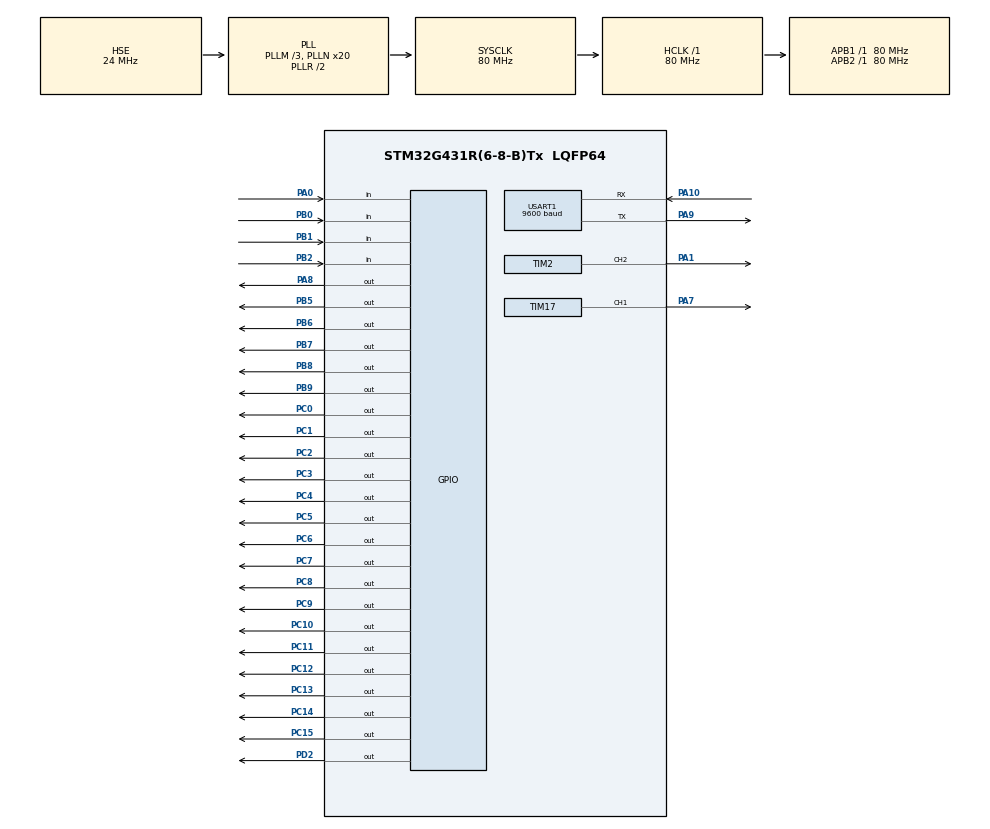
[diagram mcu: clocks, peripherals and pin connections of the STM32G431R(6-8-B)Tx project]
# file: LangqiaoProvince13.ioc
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Mcu.Family=STM32G4
Mcu.Name=STM32G431R(6-8-B)Tx
Mcu.Package=LQFP64
NVIC.PriorityGroup=NVIC_PRIORITYGROUP_4
NVIC.TIM1_UP_TIM16_IRQn=true\:0\:0\:false\:false\:true\:true\:true\:true
NVIC.TIM7_IRQn=true\:0\:0\:false\:false\:true\:true\:true\:true
NVIC.USART1_IRQn=true\:0\:0\:false\:false\:true\:true\:true\:true
PA0.GPIO_PuPd=GPIO_PULLUP
PA0.Signal=GPIO_Input
PA1.Signal=S_TIM2_CH2
PA10.Mode=Asynchronous
PA10.Signal=USART1_RX
PA13.Mode=Serial_Wire
PA13.Signal=SYS_JTMS-SWDIO
PA14.Mode=Serial_Wire
PA14.Signal=SYS_JTCK-SWCLK
PA7.Signal=S_TIM17_CH1
PA8.Signal=GPIO_Output
PA9.Mode=Asynchronous
PA9.Signal=USART1_TX
PB0.GPIO_PuPd=GPIO_PULLUP
PB0.Signal=GPIO_Input
PB1.GPIO_PuPd=GPIO_PULLUP
PB1.Signal=GPIO_Input
PB2.GPIO_PuPd=GPIO_PULLUP
PB2.Signal=GPIO_Input
PB5.Signal=GPIO_Output
PB6.Signal=GPIO_Output
PB7.Signal=GPIO_Output
PB8-BOOT0.Signal=GPIO_Output
PB9.Signal=GPIO_Output
PC0.Signal=GPIO_Output
PC1.Signal=GPIO_Output
PC10.GPIO_PuPd=GPIO_PULLUP
PC10.PinState=GPIO_PIN_SET
PC10.Signal=GPIO_Output
PC11.GPIO_PuPd=GPIO_PULLUP
PC11.PinState=GPIO_PIN_SET
PC11.Signal=GPIO_Output
PC12.GPIO_PuPd=GPIO_PULLUP
PC12.PinState=GPIO_PIN_SET
PC12.Signal=GPIO_Output
PC13.GPIO_PuPd=GPIO_PULLUP
PC13.PinState=GPIO_PIN_SET
PC13.Signal=GPIO_Output
PC14-OSC32_IN.GPIO_PuPd=GPIO_PULLUP
PC14-OSC32_IN.PinState=GPIO_PIN_SET
PC14-OSC32_IN.Signal=GPIO_Output
PC15-OSC32_OUT.GPIO_PuPd=GPIO_PULLUP
PC15-OSC32_OUT.PinState=GPIO_PIN_SET
PC15-OSC32_OUT.Signal=GPIO_Output
PC2.Signal=GPIO_Output
PC3.Signal=GPIO_Output
PC4.Signal=GPIO_Output
PC5.Signal=GPIO_Output
PC6.Signal=GPIO_Output
PC7.Signal=GPIO_Output
PC8.GPIO_PuPd=GPIO_PULLUP
PC8.PinState=GPIO_PIN_SET
PC8.Signal=GPIO_Output
PC9.GPIO_PuPd=GPIO_PULLUP
PC9.PinState=GPIO_PIN_SET
PC9.Signal=GPIO_Output
PD2.Signal=GPIO_Output
PF0-OSC_IN.Mode=HSE-External-Oscillator
PF0-OSC_IN.Signal=RCC_OSC_IN
PF1-OSC_OUT.Mode=HSE-External-Oscillator
PF1-OSC_OUT.Signal=RCC_OSC_OUT
ProjectManager.HeapSize=0x200
ProjectManager.StackSize=0x400
ProjectManager.TargetToolchain=MDK-ARM V5.27
RCC.ADC12Freq_Value=80000000
RCC.AHBFreq_Value=80000000
RCC.APB1Freq_Value=80000000
RCC.APB1TimFreq_Value=80000000
RCC.APB2Freq_Value=80000000
RCC.APB2TimFreq_Value=80000000
RCC.CortexFreq_Value=80000000
RCC.EXTERNAL_CLOCK_VALUE=12288000
RCC.HCLKFreq_Value=80000000
RCC.HSE_VALUE=24000000
RCC.HSI48_VALUE=48000000
RCC.HSI_VALUE=16000000
RCC.LSE_VALUE=32768
RCC.PLLM=RCC_PLLM_DIV3
RCC.PLLN=20
RCC.PLLSourceVirtual=RCC_PLLSOURCE_HSE
RCC.SYSCLKFreq_VALUE=80000000
RCC.SYSCLKSource=RCC_SYSCLKSOURCE_PLLCLK
RCC.USBFreq_Value=80000000
RCC.VCOOutputFreq_Value=160000000
SH.S_TIM17_CH1.0=TIM17_CH1,PWM Generation1 CH1
SH.S_TIM2_CH2.0=TIM2_CH2,PWM Generation2 CH2
TIM16.PeriodNoDither=1000-1
TIM16.Prescaler=800-1
TIM17.Channel=TIM_CHANNEL_1
TIM17.PeriodNoDither=100-1
TIM17.Prescaler=8000-1
TIM17.PulseNoDither_1=50
TIM2.Channel-PWM\ Generation2\ CH2=TIM_CHANNEL_2
TIM2.PeriodNoDither=100-1
TIM2.Prescaler=800-1
TIM2.PulseNoDither_2=50
TIM7.PeriodNoDither=1000-1
TIM7.Prescaler=8000-1
USART1.BaudRate=9600
USART1.VirtualMode-Asynchronous=VM_ASYNC
VP_SYS_VS_DBSignals.Mode=DisableDeadBatterySignals
VP_TIM16_VS_ClockSourceINT.Mode=Enable_Timer
VP_TIM17_VS_ClockSourceINT.Mode=Enable_Timer
VP_TIM7_VS_ClockSourceINT.Mode=Enable_Timer
board=custom

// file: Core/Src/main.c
/* USER CODE BEGIN Header */
/**
  ******************************************************************************
  * @file           : main.c
  * @brief          : Main program body
  ******************************************************************************
  * @attention
  *
  * Copyright (c) 2024 STMicroelectronics.
  * All rights reserved.
  *
  * This software is licensed under terms that can be found in the LICENSE file
  * in the root directory of this software component.
  * If no LICENSE file comes with this software, it is provided AS-IS.
  *
  ******************************************************************************
  */
/* USER CODE END Header */
#include "main.h"
#include "tim.h"
#include "usart.h"
#include "gpio.h"

/* USER CODE BEGIN Includes */
#include "lcd.h"
#include "stdio.h"
#include "led.h"
#include "interrupt.h"
#include "string.h"
/* USER CODE END Includes */

/* USER CODE BEGIN PD */
extern struct keys Key[];
extern uint16_t led_tick;
extern char rx_data[];
extern uchar rx_pointer;
extern uchar rx;

extern uchar view;
extern uchar B1,B2,B3;;
extern int freq;
extern int duty;

extern uchar led_on[];
/* USER CODE END PD */

/* USER CODE BEGIN PM */
void key_proc(void);
void lcd_proc(void);
void uart_rx_proc(void);
/* USER CODE END PM */

/* USER CODE BEGIN PV */

char password[4]="123";
uchar failtime=0;

char old_password[4];
char new_password[4];
/* USER CODE END PV */

void SystemClock_Config(void);

int main(void)
{

  /* MCU Configuration--------------------------------------------------------*/

  /* Reset of all peripherals, Initializes the Flash interface and the Systick. */
  HAL_Init();

  /* Configure the system clock */
  SystemClock_Config();

  /* Initialize all configured peripherals */
  MX_GPIO_Init();
  MX_TIM16_Init();
  MX_TIM17_Init();
  MX_USART1_UART_Init();
  MX_TIM2_Init();
  MX_TIM7_Init();
  /* USER CODE BEGIN 2 */
  LCD_Init();
	LCD_Clear(Black);
  LCD_SetBackColor(Black);
  LCD_SetTextColor(White);
	led_disp(0x00);

  /* USER CODE END 2 */

  /* Infinite loop */
  /* USER CODE BEGIN WHILE */

	HAL_TIM_Base_Start_IT(&htim16);
	HAL_UART_Receive_IT(&huart1,&rx,1);
	HAL_TIM_PWM_Start(&htim2,TIM_CHANNEL_2);
  while (1)
  {
    /* USER CODE END WHILE */

    /* USER CODE BEGIN 3 */
		key_proc();
		lcd_proc();
		if(rx_pointer!=0)
		{
			int temp=rx_pointer;
			HAL_Delay(1);
			if(temp==rx_pointer) uart_rx_proc();
		}
  }
  /* USER CODE END 3 */
}

void SystemClock_Config(void)
{
  RCC_OscInitTypeDef RCC_OscInitStruct = {0};
  RCC_ClkInitTypeDef RCC_ClkInitStruct = {0};

  /** Configure the main internal regulator output voltage
  */
  HAL_PWREx_ControlVoltageScaling(PWR_REGULATOR_VOLTAGE_SCALE1);

  /** Initializes the RCC Oscillators according to the specified parameters
  * in the RCC_OscInitTypeDef structure.
  */
  RCC_OscInitStruct.OscillatorType = RCC_OSCILLATORTYPE_HSE;
  RCC_OscInitStruct.HSEState = RCC_HSE_ON;
  RCC_OscInitStruct.PLL.PLLState = RCC_PLL_ON;
  RCC_OscInitStruct.PLL.PLLSource = RCC_PLLSOURCE_HSE;
  RCC_OscInitStruct.PLL.PLLM = RCC_PLLM_DIV3;
  RCC_OscInitStruct.PLL.PLLN = 20;
  RCC_OscInitStruct.PLL.PLLP = RCC_PLLP_DIV2;
  RCC_OscInitStruct.PLL.PLLQ = RCC_PLLQ_DIV2;
  RCC_OscInitStruct.PLL.PLLR = RCC_PLLR_DIV2;
  if (HAL_RCC_OscConfig(&RCC_OscInitStruct) != HAL_OK)
  {
    Error_Handler();
  }

  /** Initializes the CPU, AHB and APB buses clocks
  */
  RCC_ClkInitStruct.ClockType = RCC_CLOCKTYPE_HCLK|RCC_CLOCKTYPE_SYSCLK
                              |RCC_CLOCKTYPE_PCLK1|RCC_CLOCKTYPE_PCLK2;
  RCC_ClkInitStruct.SYSCLKSource = RCC_SYSCLKSOURCE_PLLCLK;
  RCC_ClkInitStruct.AHBCLKDivider = RCC_SYSCLK_DIV1;
  RCC_ClkInitStruct.APB1CLKDivider = RCC_HCLK_DIV1;
  RCC_ClkInitStruct.APB2CLKDivider = RCC_HCLK_DIV1;

  if (HAL_RCC_ClockConfig(&RCC_ClkInitStruct, FLASH_LATENCY_2) != HAL_OK)
  {
    Error_Handler();
  }
}

/* USER CODE BEGIN 4 */
void key_proc(void)
{
	if(view==0)
	{
		if(Key[0].single_flag==1)
		{
			if(B1=='@') B1='0';
			else B1+=1;
			if(B1=='9'+1) B1='0';
			Key[0].single_flag=0;
		}
		if(Key[1].single_flag==1)
		{
			if(B2=='@') B2='0';
			else B2+=1;
			if(B2=='9'+1) B2='0';
			Key[1].single_flag=0;
		}
		if(Key[2].single_flag==1)
		{
			if(B3=='@') B3='0';
			else B3+=1;
			if(B3=='9'+1) B3='0';
			Key[2].single_flag=0;
		}
		if(Key[3].single_flag==1)
		{
			if(B1==password[0] && B2==password[1] && B3==password[2])
			{
				view+=1;
				LCD_Clear(Black);
				led_on[0]=1;

				//设置PWM输出
				freq=2000;
				duty=10;
				__HAL_TIM_SET_PRESCALER(&htim2,(80000000)/100/freq);
				__HAL_TIM_SetCompare(&htim2,TIM_CHANNEL_2,duty);
				HAL_TIM_Base_Start_IT(&htim7); //开始5s计时
			}
			else
			{
				B1='@';B2='@';B3='@';
				failtime+=1;
				if(failtime>=3)
				{
					led_on[1]=1;
				}
			}
			Key[3].single_flag=0;
		}
	}
}

void lcd_proc(void)
{
	char text[30];
	if(view==0)
	{
		sprintf(text,"       PSD    ");
		LCD_DisplayStringLine(Line2, (unsigned char *)text);
		sprintf(text,"    B1=%c    ",B1);
		LCD_DisplayStringLine(Line4, (unsigned char *)text);
		sprintf(text,"    B2=%c    ",B2);
		LCD_DisplayStringLine(Line5, (unsigned char *)text);
		sprintf(text,"    B3=%c    ",B3);
		LCD_DisplayStringLine(Line6, (unsigned char *)text);
//		sprintf(text,"    oldpass=%s      ",old_password);
//		LCD_DisplayStringLine(Line7, (unsigned char *)text);
//		sprintf(text,"    newpass=%s     ",new_password);
//		LCD_DisplayStringLine(Line8, (unsigned char *)text);
		sprintf(text,"    pass=%s      ",password);
		LCD_DisplayStringLine(Line7, (unsigned char *)text);
	}
	else if(view==1)
	{
		sprintf(text,"       STA    ");
		LCD_DisplayStringLine(Line2, (unsigned char *)text);
		sprintf(text,"    F=%d    ",freq);
		LCD_DisplayStringLine(Line4, (unsigned char *)text);
		sprintf(text,"    D=%d    ",duty);
		LCD_DisplayStringLine(Line5, (unsigned char *)text);
	}
}

void uart_rx_proc(void)
{
	if(rx_pointer>0)
	{
		if(rx_pointer==7)
		{
			sscanf(rx_data,"%3s-%3s",old_password,new_password);
			if(strcmp(old_password,password)==0)
			{
				int flag=1;
				for(int i=0;i<3;i++)
				{
					if(new_password[i]<'1' || new_password[i]>'9')
					{
						flag=0;
					}
				}
				if(flag)
				{
					for(int i=0;i<3;i++)
					{
						password[i]=new_password[i];
					}
				}
			}
		}
	}
	rx_pointer=0;
	memset(rx_data,0,20);
}

/* USER CODE END 4 */

void Error_Handler(void)
{
  __disable_irq();
  while (1)
  {
  }
}
